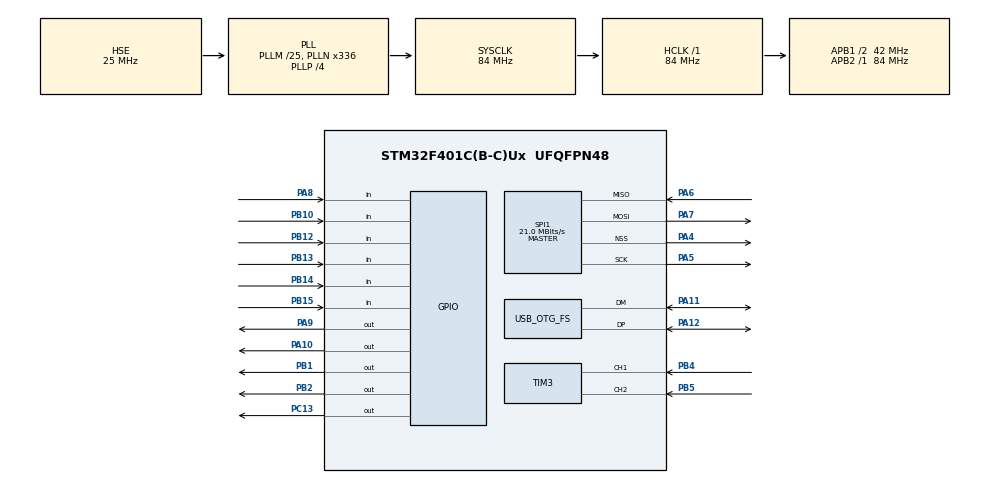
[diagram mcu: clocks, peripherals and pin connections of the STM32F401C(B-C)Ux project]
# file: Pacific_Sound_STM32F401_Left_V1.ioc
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Mcu.Family=STM32F4
Mcu.Name=STM32F401C(B-C)Ux
Mcu.Package=UFQFPN48
NVIC.OTG_FS_IRQn=true\:0\:0\:false\:false\:true\:false\:true
NVIC.PriorityGroup=NVIC_PRIORITYGROUP_4
NVIC.TIM3_IRQn=true\:0\:0\:false\:false\:true\:true\:true
PA10.Signal=GPIO_Output
PA11.Mode=Device_Only
PA11.Signal=USB_OTG_FS_DM
PA12.Mode=Device_Only
PA12.Signal=USB_OTG_FS_DP
PA4.Mode=NSS_Signal_Hard_Output
PA4.Signal=SPI1_NSS
PA5.Mode=Full_Duplex_Master
PA5.Signal=SPI1_SCK
PA6.Mode=Full_Duplex_Master
PA6.Signal=SPI1_MISO
PA7.Mode=Full_Duplex_Master
PA7.Signal=SPI1_MOSI
PA8.GPIO_PuPd=GPIO_PULLUP
PA8.Signal=GPIO_Input
PA9.Signal=GPIO_Output
PB1.Signal=GPIO_Output
PB10.GPIO_PuPd=GPIO_PULLUP
PB10.Signal=GPIO_Input
PB12.GPIO_PuPd=GPIO_PULLUP
PB12.Signal=GPIO_Input
PB13.GPIO_PuPd=GPIO_PULLUP
PB13.Signal=GPIO_Input
PB14.GPIO_PuPd=GPIO_PULLUP
PB14.Signal=GPIO_Input
PB15.GPIO_PuPd=GPIO_PULLUP
PB15.Signal=GPIO_Input
PB2.Signal=GPIO_Output
PB4.GPIO_PuPd=GPIO_PULLUP
PB4.Signal=S_TIM3_CH1
PB5.GPIO_PuPd=GPIO_PULLUP
PB5.Signal=S_TIM3_CH2
PC13-ANTI_TAMP.Signal=GPIO_Output
PC14-OSC32_IN.Mode=LSE-External-Oscillator
PC14-OSC32_IN.Signal=RCC_OSC32_IN
PC15-OSC32_OUT.Mode=LSE-External-Oscillator
PC15-OSC32_OUT.Signal=RCC_OSC32_OUT
PH0\ -\ OSC_IN.Mode=HSE-External-Oscillator
PH0\ -\ OSC_IN.Signal=RCC_OSC_IN
PH1\ -\ OSC_OUT.Mode=HSE-External-Oscillator
PH1\ -\ OSC_OUT.Signal=RCC_OSC_OUT
ProjectManager.HeapSize=0x200
ProjectManager.StackSize=0x400
ProjectManager.TargetToolchain=STM32CubeIDE
RCC.48MHZClocksFreq_Value=48000000
RCC.AHBFreq_Value=84000000
RCC.APB1CLKDivider=RCC_HCLK_DIV2
RCC.APB1Freq_Value=42000000
RCC.APB1TimFreq_Value=84000000
RCC.APB2Freq_Value=84000000
RCC.APB2TimFreq_Value=84000000
RCC.CortexFreq_Value=84000000
RCC.HCLKFreq_Value=84000000
RCC.HSE_VALUE=25000000
RCC.HSI_VALUE=16000000
RCC.PLLM=25
RCC.PLLN=336
RCC.PLLP=RCC_PLLP_DIV4
RCC.PLLQ=7
RCC.SYSCLKFreq_VALUE=84000000
RCC.SYSCLKSource=RCC_SYSCLKSOURCE_PLLCLK
RCC.VCOOutputFreq_Value=336000000
SH.S_TIM3_CH1.0=TIM3_CH1,Encoder_Interface
SH.S_TIM3_CH2.0=TIM3_CH2,Encoder_Interface
SPI1.BaudRatePrescaler=SPI_BAUDRATEPRESCALER_4
SPI1.CalculateBaudRate=21.0 MBits/s
SPI1.Direction=SPI_DIRECTION_2LINES
SPI1.Mode=SPI_MODE_MASTER
SPI1.VirtualNSS=VM_NSSHARD
SPI1.VirtualType=VM_MASTER
TIM3.EncoderMode=TIM_ENCODERMODE_TI12
TIM3.IC1Filter=15
TIM3.IC1Prescaler=TIM_ICPSC_DIV1
TIM3.IC2Filter=15
TIM3.IC2Prescaler=TIM_ICPSC_DIV1
USB_DEVICE.CLASS_NAME_FS=HID
USB_DEVICE.PID_HID_FS=22316
USB_DEVICE.VirtualMode=Hid
USB_DEVICE.VirtualModeFS=Hid_FS
USB_OTG_FS.VirtualMode=Device_Only
VP_USB_DEVICE_VS_USB_DEVICE_HID_FS.Mode=HID_FS
board=custom

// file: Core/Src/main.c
/* USER CODE BEGIN Header */
/**
  ******************************************************************************
  * @file           : main.c
  * @brief          : Main program body
  ******************************************************************************
  * @attention
  *
  * <h2><center>&copy; Copyright (c) 2022 STMicroelectronics.
  * All rights reserved.</center></h2>
  *
  * This software component is licensed by ST under BSD 3-Clause license,
  * the "License"; You may not use this file except in compliance with the
  * License. You may obtain a copy of the License at:
  *                        opensource.org/licenses/BSD-3-Clause
  *
  ******************************************************************************
  */
/* USER CODE END Header */
#include "main.h"
#include "usb_device.h"

/* USER CODE BEGIN Includes */
#include "usbd_hid.h"

/* USER CODE END Includes */

SPI_HandleTypeDef hspi1;
TIM_HandleTypeDef htim3;

/* USER CODE BEGIN PV */

extern USBD_HandleTypeDef hUsbDeviceFS;

//Storage for the encoder values. Counter 1 is the previous value
//Counter 2 is the present value. The enc1 count is incremented by the
// difference between counter 2 and counter 1 (can be negative).
uint32_t enc1_counter1 = 0x0;
uint32_t enc1_counter2 = 0x0;
int32_t enc1_count = 0x0;
//The encoder count will define how many key presses to send to the computer
//The MCU loop happens faster than the computer polling so there must be a delay.
//The key press is sent until the count increments up to the delay. Then the
//key release is also sent for enough times for the count to increment to 2x the
//delay
const uint16_t enc1_delay = 200;
const uint8_t enc_scaling = 2;
uint16_t enc_hold_count=0x0;

const uint16_t debounce = 10;

// This index is to be passed during the column and row scanning to keep track
// of which key is being checked
uint8_t vect_ind = 0x0;

// Initialize a vector for the keyboard
// This is the storage for how many cycles a key is logged as connected.
// This will be checked against the debounce count in order to determine that
// a key should be considered to be pressed.
uint16_t kb_count_vect[22]={0x0};

//This is the variable to keep track of the layer state
uint8_t layer_state = 0;

// These are the keycode and modifier vectors. There is a keycode and modifier for each
// key on each half. There are two more codes and modifiers at the end in order to
// account a single encoder. One code for clockwise and one for counter-clockwise
// encoder rotation (increasing or decreasing).

//Layer 0:
const uint8_t kc_left_l0[24]={0x05 ,0x13 ,0x09 ,0x1a ,0x14 ,0x2b ,0x0a ,0x17 ,0x16 ,0x15 ,0x04 ,0x00 ,0x19 ,0x07 ,0x06 ,0x1b ,0x1d ,0x00 ,0x00 ,0x2a ,0x00 ,0x29, 0x51, 0x52};
const uint8_t kc_right_l0[24]={0x0d ,0x0f ,0x18 ,0x1c ,0x33 ,0x28 ,0x10 ,0x11 ,0x08 ,0x0c ,0x12 ,0x34 ,0x0e ,0x0b ,0x36 ,0x37 ,0x38 ,0x00 ,0x00 ,0x2c ,0x00 ,0x00 ,0x50, 0x4f};
const uint8_t mod_left_l0[24]={0x00 ,0x00 ,0x00 ,0x00 ,0x00 ,0x00 ,0x00 ,0x00 ,0x00 ,0x00 ,0x00 ,0x01 ,0x00 ,0x00 ,0x00 ,0x00 ,0x00 ,0x02 ,0x00 ,0x00 ,0x00 ,0x00, 0x00 ,0x00};
const uint8_t mod_right_l0[24]={0x00 ,0x00 ,0x00 ,0x00 ,0x00 ,0x00 ,0x00 ,0x00 ,0x00 ,0x00 ,0x00 ,0x00 ,0x00 ,0x00 ,0x00 ,0x00 ,0x00 ,0x20 ,0x00 ,0x00 ,0x00 ,0x40, 0x00 ,0x00};
//Layer 1:
const uint8_t kc_left_l1[24]={0x00 ,0x4b ,0x52 ,0x4a ,0x00 ,0x2b ,0x46 ,0x4f ,0x51 ,0x50 ,0x00 ,0x00 ,0x4c ,0x4e ,0x51 ,0x4d ,0x00 ,0x00 ,0x00 ,0x2a ,0x00 ,0x29, 0x51, 0x52};
const uint8_t kc_right_l1[24]={0x54 ,0x5f ,0x60 ,0x61 ,0x55 ,0x28 ,0x2e ,0x5c ,0x5d ,0x5e ,0x56 ,0x34 ,0x00 ,0x59 ,0x5a ,0x5b ,0x57 ,0x00 ,0x00 ,0x2c ,0x62 ,0x63 ,0x50, 0x4f};
const uint8_t mod_left_l1[24]={0x00 ,0x00 ,0x00 ,0x00 ,0x00 ,0x00 ,0x00 ,0x00 ,0x00 ,0x00 ,0x00 ,0x01 ,0x00 ,0x00 ,0x00 ,0x00 ,0x00 ,0x02 ,0x00 ,0x00 ,0x00 ,0x00, 0x00 ,0x00};
const uint8_t mod_right_l1[24]={0x00 ,0x00 ,0x00 ,0x00 ,0x00 ,0x00 ,0x00 ,0x00 ,0x00 ,0x00 ,0x00 ,0x00 ,0x00 ,0x00 ,0x00 ,0x00 ,0x00 ,0x20 ,0x00 ,0x00 ,0x00 ,0x00, 0x00 ,0x00};
//Layer 2:
const uint8_t kc_left_l2[24]={0x22 ,0x21 ,0x20 ,0x1f ,0x1e ,0x35 ,0x22 ,0x21 ,0x20 ,0x1f ,0x1e ,0x35 ,0x00 ,0x00 ,0x00 ,0x10 ,0x00 ,0x00 ,0x00 ,0x2a ,0x00 ,0x29, 0x51, 0x52};
const uint8_t kc_right_l2[24]={0x23 ,0x24 ,0x25 ,0x26 ,0x27 ,0x2d ,0x23 ,0x24 ,0x25 ,0x26 ,0x27 ,0x2d ,0x2f ,0x30 ,0x2f ,0x30 ,0x31 ,0x31 ,0x00 ,0x2c ,0x00 ,0x00 ,0x50, 0x4f};
const uint8_t mod_left_l2[24]={0x02 ,0x02 ,0x02 ,0x02 ,0x02 ,0x02 ,0x00 ,0x00 ,0x00 ,0x00 ,0x00 ,0x00 ,0x00 ,0x00 ,0x00 ,0x08 ,0x08 ,0x00 ,0x00 ,0x00 ,0x00 ,0x00, 0x00 ,0x00};
const uint8_t mod_right_l2[24]={0x02 ,0x02 ,0x02 ,0x02 ,0x02 ,0x02 ,0x00 ,0x00 ,0x00 ,0x00 ,0x00 ,0x00 ,0x02 ,0x02 ,0x00 ,0x00 ,0x00 ,0x02 ,0x00 ,0x00 ,0x00 ,0x40, 0x00 ,0x00};

/* USER CODE END PV */

void SystemClock_Config(void);
static void MX_GPIO_Init(void);
static void MX_SPI1_Init(void);
static void MX_TIM3_Init(void);

/* USER CODE BEGIN 0 */

void HAL_TIM_IC_CaptureCallback(TIM_HandleTypeDef *htim){

	//Update the counter2 value.
	//this value will be compared against counter1 and if it is
	//different then the delta will be used to send keycodes for the
	//encoder and then counter1 will be sent to counter2 after the
	//the codes are sent

	// This callback function is triggered whenever there
	// is a change in the encoder value. There is no need to
	// poll the encoder.
	enc1_counter2 = __HAL_TIM_GET_COUNTER(htim);

}

void check_layer_state(uint8_t *kbSPI_tx, uint8_t *kbSPI_rx, uint8_t n_kbSPI){

    uint8_t ii;

    // Check for certain keys that are pressed. There are only keycode vectors
    // for layers 0, 1, and 2 so layers 3 and 4 are not used right now.

	// Layer 0: default
	// Layer 1: kbSPI_tx has key 21
	// Layer 2: kbSPI_rx has key 21
	// Layer 3: kbSPI_tx has key 22
    // Layer 4: kbSPI_rx has key 22

    if(layer_state==0){
        // If layer state is 0 check if a layer key is pressed
        for(ii=0; ii<n_kbSPI; ++ii){
    		//if(kbSPI_rx[ii]==22){
    		//	layer_state=4;
    		//}
    		//else if(kbSPI_tx[ii]==22){
    		//	layer_state=3;
    		//}
    		if(kbSPI_rx[ii]==21){
    			layer_state=2;
    		}
    		else if(kbSPI_tx[ii]==21){
    			layer_state=1;
    		}
    	}
    }
    else{
        // If a layer key was previously pressed (layer_state!=0) then only set the layer state
        // back to zero if that key is released
    	// This allows a second layer key to be pressed without overiding the first layer state
    	// For example, my numpad setup uses the key 21 as a "0" for the right half.
    	// when I press that key I want to be sure it doesn't cause layer state 2 to become
    	// active instead of staying in layer state 1 and being interpreted as a key press.
        if(layer_state==4){
            layer_state=0;
            for(ii=0; ii<n_kbSPI; ++ii){
        		if(kbSPI_rx[ii]==22){
        			layer_state=4;
        		}
            }
        }
        else if(layer_state==3){
            layer_state=0;
            for(ii=0; ii<n_kbSPI; ++ii){
        		if(kbSPI_tx[ii]==22){
        			layer_state=3;
        		}
            }
        }
        else if(layer_state==2){
            layer_state=0;
            for(ii=0; ii<n_kbSPI; ++ii){
        		if(kbSPI_rx[ii]==21){
        			layer_state=2;
        		}
            }
        }
        else if(layer_state==1){
            layer_state=0;
            for(ii=0; ii<n_kbSPI; ++ii){
        		if(kbSPI_tx[ii]==21){
        			layer_state=1;
        		}
            }
        }
    }

}

void send_keycodes(uint8_t *kbSPI_tx, uint8_t *kbSPI_rx, uint8_t n_kbSPI){

	// In this function the vectors kbSPI_tx and kbSPI_rx are parsed
	// Both of these vectors contain the indices of keys that have been
	// held down for long enough to be considered pressed (exceeded the
	// debounce count)
	//
	// These vectors are a vector of indices. eg. if the number 19 is
	// in the vector it means that the key 19 is pressed. The kbSPI_tx
	// is for this half, the kbSPI_rx is for the other half.

	// USB HID data. Most significant byte is the modifiers (data[0])
	// Modifiers are combined using a bitwise or
	// data[1] is reserved
	// data[2] to data[7] are the keycodes

	uint8_t kbUSB_data[8]={0x00};

	// code keeps track of the number of keycodes that have been added to the
	// keycode data. This must be limited to 6.
	uint8_t code=0;
	uint8_t ii;

	// These are temporary values to hold the keycode and modifier that correspond to
	// a given key that is interpreted.
	uint8_t kc = 0x0;
	uint8_t mod = 0x0;

	code=0;

	// Before keys are interpreted the vectors are checked to see if any layer
	// keys are pressed. If a layer key is pressed the layer state is changed and
	// this then changes the interpretation of the the keycode and modifier that
	// are associated with a key press.

	// Layer keycodes and modifiers are stored in separate vectors for each layer.
	check_layer_state(kbSPI_tx,kbSPI_rx,n_kbSPI);

	// Interpret kbSPI_tx (this half)
	for(ii=0; ii<n_kbSPI; ++ii){

		if(kbSPI_tx[ii]>0){
			// Look up each keycode and modifier from the keymap vectors
			// based on the layer state
			if(layer_state==0){
				kc = kc_left_l0[kbSPI_tx[ii]-1];
				mod = mod_left_l0[kbSPI_tx[ii]-1];
			}
			else if(layer_state==1){
				kc = kc_left_l1[kbSPI_tx[ii]-1];
				mod = mod_left_l1[kbSPI_tx[ii]-1];

			}
			else if(layer_state==2){
				kc = kc_left_l2[kbSPI_tx[ii]-1];
				mod = mod_left_l2[kbSPI_tx[ii]-1];
			}
			// Additional layers can be added as needed with more vectors
			//
			//else if(layer_state==3){
			//	kc = kc_left_l3[kbSPI_tx[ii]-1];
			//	mod = mod_left_l3[kbSPI_tx[ii]-1];
			//}
			//else{
			//	kc = kc_left_l4[kbSPI_tx[ii]-1];
			//	mod = mod_left_l4[kbSPI_tx[ii]-1];
			//}

			// If the keycode is not empty and the number of keycodes
			// already added is less than 6 add the keycode to the data

			if(kc>0){
				if(code<6){
					kbUSB_data[code+2]=kc;
					++code;
				}
			}

			kbUSB_data[0] = kbUSB_data[0]|mod;

		}

	}

	// Now add in kbSPI_rx (the other board)
	for(ii=0; ii<n_kbSPI; ++ii){

		if(kbSPI_rx[ii]>0){
			// Look up each keycode and modifier from the keymap vectors
			// based on the layer state
			if(layer_state==0){
				kc = kc_right_l0[kbSPI_rx[ii]-1];
				mod = mod_right_l0[kbSPI_rx[ii]-1];
			}
			else if(layer_state==1){
				kc = kc_right_l1[kbSPI_rx[ii]-1];
				mod = mod_right_l1[kbSPI_rx[ii]-1];

			}
			else if(layer_state==2){
				kc = kc_right_l2[kbSPI_rx[ii]-1];
				mod = mod_right_l2[kbSPI_rx[ii]-1];
			}
			//else if(layer_state==3){
			//	kc = kc_right_l3[kbSPI_rx[ii]-1];
			//	mod = mod_right_l3[kbSPI_rx[ii]-1];
			//}
			//else{
			//	kc = kc_right_l4[kbSPI_rx[ii]-1];
			//	mod = mod_right_l4[kbSPI_rx[ii]-1];
			//}

			// If the keycode is not empty and the number of keycodes
			// already added is less than 6 add the keycode to the data
			if(kc>0){
				if(code<6){
					kbUSB_data[code+2]=kc;
					++code;
				}
			}

			kbUSB_data[0] = kbUSB_data[0]|mod;

		}
	}

	// Update the data sent over USB using USBD_HID_SendReport
	// Note that this function only updates the data that can
	// be sent. The computer polls over USB triggering the data
	// transmission. USBD_HID_SendReport only updates the
	// available data. It can be called repeatedly and will not
	// cause any buffer over-run. It is non-blocking so it will
	// not wait to be polled by the computer.
	USBD_HID_SendReport(&hUsbDeviceFS,kbUSB_data,8);

}

void scan_cols(uint8_t row)
{

	// Row specified by rowInd is toggled. Scan through columns to check it any column is pulled low
	// diodes go from column to row. Rows are set low to toggle. Columns have a pull-up on to set them
	// high when there is no connection.

	//Check column 1
	if(HAL_GPIO_ReadPin(GPIOA,GPIO_PIN_8)!=GPIO_PIN_SET){
		kb_count_vect[vect_ind]+=1;
	}
	else{
		kb_count_vect[vect_ind]=0;
	}
	vect_ind+=1;

	//Check column 2
	if(HAL_GPIO_ReadPin(GPIOB,GPIO_PIN_10)!=GPIO_PIN_SET){
		kb_count_vect[vect_ind]+=1;
	}
	else{
		kb_count_vect[vect_ind]=0;
	}
	vect_ind+=1;

	//Check column 3
	if(HAL_GPIO_ReadPin(GPIOB,GPIO_PIN_15)!=GPIO_PIN_SET){
		kb_count_vect[vect_ind]+=1;
	}
	else{
		kb_count_vect[vect_ind]=0;
	}
	vect_ind+=1;

	//Check column 4
	if(HAL_GPIO_ReadPin(GPIOB,GPIO_PIN_14)!=GPIO_PIN_SET){
		kb_count_vect[vect_ind]+=1;
	}
	else{
		kb_count_vect[vect_ind]=0;
	}
	vect_ind+=1;

	// Row 3 only has 4 key spots so no need to check pin B12 or in B13 (Col 5 or Col 6)
	if(row<3){
		//Check column 5
		if(HAL_GPIO_ReadPin(GPIOB,GPIO_PIN_13)!=GPIO_PIN_SET){
			kb_count_vect[vect_ind]+=1;
		}
		else{
			kb_count_vect[vect_ind]=0;
		}
		vect_ind+=1;

		//Check column 6
		if(HAL_GPIO_ReadPin(GPIOB,GPIO_PIN_12)!=GPIO_PIN_SET){
			kb_count_vect[vect_ind]+=1;
		}
		else{
			kb_count_vect[vect_ind]=0;
		}
		vect_ind+=1;
	}

}

void scan_matrix(void)
{
	vect_ind = 0x0;
	// Key switch detection...
	// Trigger row 1 and scan columns
	HAL_GPIO_WritePin(GPIOB,GPIO_PIN_2,0);
	scan_cols(0);
	HAL_GPIO_WritePin(GPIOB,GPIO_PIN_2,1);

	// Trigger row 2 and scan columns
	HAL_GPIO_WritePin(GPIOA,GPIO_PIN_9,0);
	scan_cols(1);
	HAL_GPIO_WritePin(GPIOA,GPIO_PIN_9,1);

	// Trigger row 3 and scan columns
	HAL_GPIO_WritePin(GPIOB,GPIO_PIN_1,0);
	scan_cols(2);
	HAL_GPIO_WritePin(GPIOB,GPIO_PIN_1,1);

	// Trigger row 4 and scan columns
	HAL_GPIO_WritePin(GPIOA,GPIO_PIN_10,0);
	scan_cols(3);
	HAL_GPIO_WritePin(GPIOA,GPIO_PIN_10,1);

}

void update_keys(uint8_t *kbSPI_tx, uint8_t n_kbSPI){

	// The indices of the vector are sent instead of the keycodes.
	// This will allow the half that is connected to the computer
	// to interpret the keys (use layers etc.)
	//
	// In this function any key that has a count greater than
	// the debounce count will be considered to be a valid key press.
	// It will be added to the vector of indices that is keeping track
	// of which keys are pressed. This vector is limited in size to
	// 8 keys at once (8 keys per half maximum).
	// Even though this is larger than the number of key codes that can
	// be sent it seemed okay to have a little more space for keys
	// and then down select when the vectors are interpreted into
	// keycodes.
	// There is no rollover of keys (keys are not stored for future transmission
	// if there are too many keys pressed).

	uint8_t kb_ind;
	uint8_t ii;

	int32_t enc_delta;

	for( kb_ind=0; kb_ind<n_kbSPI; ++kb_ind){
		kbSPI_tx[kb_ind] = 0x0;
	}

	kb_ind=0;

	for( ii = 0; ii < 22; ++ii ){
		if(kb_count_vect[ii]>debounce){
			kb_count_vect[ii]=debounce+1; //prevent overrun of uint16 values

			// if there is space in the vector append the key
			if(kb_ind<n_kbSPI){
				kbSPI_tx[kb_ind]=ii+1; //increment by one since zeros mean no keys are pressed
				++kb_ind;
			}
		}
	}

	// Interpret the encoder signal if the value has changed.
	// The previous encoder value is stored in counter1 and the updated
	// values is in counter2. The difference is how many positions the
	// encoder has moved. The encoder wraps around at 65535 (only has values
	// from 0 to 65535) so if a value that is greater or less than a reasonable
	// delta is detected it means the encoder has gone lower than zero or
	// higher than 65535. So that number should be added or subtracted from
	// the delta.

	// In order to dampen the response the delta is divided by a scaling value.
	// This dampened delta is added to an encoder count that can be negative
	// or positive. This count is then used to sequentially add key indices
	// (either 23 or 24) to the vector of indices until the count returns back to zero.
	if(enc1_counter2!=enc1_counter1){
		enc_delta=(enc1_counter2-enc1_counter1);
		if(enc_delta>65000){
			enc_delta = enc_delta-65535;
		}
		else if(enc_delta<-65000){
			enc_delta = enc_delta+65536;
		}
		enc1_counter1=enc1_counter2;
		enc1_count = enc1_count+enc_delta/enc_scaling;
	}

	// If there is space in the vector of keycodes and the encoder count
	// is not zero then add the indice 23 or 24 to the set of key indices
	// This indice is held on for the number of cycles in enc1_delay and
	// then held off for the same number of cycles. If the code is turned
	// on and off too fast the computer will not interpret it so this
	// delay is necessary. Too long of a value for enc1_delay and the
	// encoder values will back up and the response will seem sluggish.
	// Too small of a value and the encoder key presses will not be
	// registered by the computer.
	if(kb_ind<n_kbSPI){
		if(enc1_count!=0){
			if(enc_hold_count<enc1_delay){
				++enc_hold_count;
				if(enc1_count<0){
					kbSPI_tx[kb_ind]=23;
					++kb_ind;
				}
				else{
					kbSPI_tx[kb_ind]=24;
					++kb_ind;
				}
			}
			else if(enc_hold_count<(enc1_delay+enc1_delay)){
				++enc_hold_count;

			}
			else{
				if(enc1_count<0){
					++enc1_count;
				}
				else{
					--enc1_count;
				}
				enc_hold_count=0x0;
			}

		}

	}

}

/* USER CODE END 0 */

int main(void)
{
  /* USER CODE BEGIN 1 */

  // Storage for the number of key indices for each half (tx and rx) and
  // the indices themselves.
  uint8_t n_kbSPI = 8;
  uint8_t kbSPI_tx[8]={0x0};
  uint8_t kbSPI_rx[8]={0x0};

  /* USER CODE END 1 */

  /* MCU Configuration--------------------------------------------------------*/

  /* Reset of all peripherals, Initializes the Flash interface and the Systick. */
  HAL_Init();

  /* Configure the system clock */
  SystemClock_Config();

  /* Initialize all configured peripherals */
  MX_GPIO_Init();
  MX_SPI1_Init();
  MX_TIM3_Init();
  MX_USB_DEVICE_Init();
  /* USER CODE BEGIN 2 */

  // Start the encoder timer interrupt
  HAL_TIM_Encoder_Start_IT(&htim3, TIM_CHANNEL_ALL);

  // Initialize all GPIO Output pins (rows) to 1
  // keys are interpreted as being pressed when
  // a row is set to low and the corresponding column
  // is detected as low. All columns have pullup
  // resistors enabled in the MCU so that they normally
  // detect high and are only pulled low by a key press
  // when the corresponding row is low.
  HAL_GPIO_WritePin(GPIOA,GPIO_PIN_9,1);
  HAL_GPIO_WritePin(GPIOA,GPIO_PIN_10,1);
  HAL_GPIO_WritePin(GPIOB,GPIO_PIN_1,1);
  HAL_GPIO_WritePin(GPIOB,GPIO_PIN_2,1);

  // USB polling interval is not necessary
  //USB_polling = USBD_HID_GetPollingInterval(&hUsbDeviceFS);

  /* USER CODE END 2 */

  /* Infinite loop */
  while (1)
  {

    /* USER CODE BEGIN 3 */

	// Scan the matrix and increment the vector of keys for any
	// key that has been pressed. If a column is not pulled low
	// reset the count to zero for the corresponding key.
	scan_matrix();

	//HAL_GPIO_WritePin(GPIOC,GPIO_PIN_13,0);  // this just turns on the blue LED.

	// Update the vector of keys that are considered to be pressed
	// each number in the vector corresponds to the switch that is pressed
	update_keys(kbSPI_tx,n_kbSPI);

	// Receive the data of the keys that are pressed on the other half.
	// This is a blocking function so it will wait for data to arrive.
	// This will also serve to regulate the other half making it have
	// the same number cycles (makes it easier for the crude debounce count
	// and encoder count values since the same numbers can be used on the other
	// half. If the other half was looping faster (because it doesn't need to
	// interpret layer states or keycodes) then those values would need to
	// be higher for the same effective amounts of time.
	HAL_SPI_Receive(&hspi1,kbSPI_rx,n_kbSPI,10000);

	// Turn off the blue LED light on the development board
	HAL_GPIO_WritePin(GPIOC,GPIO_PIN_13,1);

	// Update the keycode data that is ready to be sent to the computer
	// when it polls for it.
	send_keycodes(kbSPI_tx,kbSPI_rx,n_kbSPI);

  }
  /* USER CODE END 3 */
}

void SystemClock_Config(void)
{
  RCC_OscInitTypeDef RCC_OscInitStruct = {0};
  RCC_ClkInitTypeDef RCC_ClkInitStruct = {0};

  /** Configure the main internal regulator output voltage
  */
  __HAL_RCC_PWR_CLK_ENABLE();
  __HAL_PWR_VOLTAGESCALING_CONFIG(PWR_REGULATOR_VOLTAGE_SCALE2);
  /** Initializes the RCC Oscillators according to the specified parameters
  * in the RCC_OscInitTypeDef structure.
  */
  RCC_OscInitStruct.OscillatorType = RCC_OSCILLATORTYPE_HSE;
  RCC_OscInitStruct.HSEState = RCC_HSE_ON;
  RCC_OscInitStruct.PLL.PLLState = RCC_PLL_ON;
  RCC_OscInitStruct.PLL.PLLSource = RCC_PLLSOURCE_HSE;
  RCC_OscInitStruct.PLL.PLLM = 25;
  RCC_OscInitStruct.PLL.PLLN = 336;
  RCC_OscInitStruct.PLL.PLLP = RCC_PLLP_DIV4;
  RCC_OscInitStruct.PLL.PLLQ = 7;
  if (HAL_RCC_OscConfig(&RCC_OscInitStruct) != HAL_OK)
  {
    Error_Handler();
  }
  /** Initializes the CPU, AHB and APB buses clocks
  */
  RCC_ClkInitStruct.ClockType = RCC_CLOCKTYPE_HCLK|RCC_CLOCKTYPE_SYSCLK
                              |RCC_CLOCKTYPE_PCLK1|RCC_CLOCKTYPE_PCLK2;
  RCC_ClkInitStruct.SYSCLKSource = RCC_SYSCLKSOURCE_PLLCLK;
  RCC_ClkInitStruct.AHBCLKDivider = RCC_SYSCLK_DIV1;
  RCC_ClkInitStruct.APB1CLKDivider = RCC_HCLK_DIV2;
  RCC_ClkInitStruct.APB2CLKDivider = RCC_HCLK_DIV1;

  if (HAL_RCC_ClockConfig(&RCC_ClkInitStruct, FLASH_LATENCY_2) != HAL_OK)
  {
    Error_Handler();
  }
}

static void MX_SPI1_Init(void)
{

  /* SPI1 parameter configuration*/
  hspi1.Instance = SPI1;
  hspi1.Init.Mode = SPI_MODE_MASTER;
  hspi1.Init.Direction = SPI_DIRECTION_2LINES;
  hspi1.Init.DataSize = SPI_DATASIZE_8BIT;
  hspi1.Init.CLKPolarity = SPI_POLARITY_LOW;
  hspi1.Init.CLKPhase = SPI_PHASE_1EDGE;
  hspi1.Init.NSS = SPI_NSS_HARD_OUTPUT;
  hspi1.Init.BaudRatePrescaler = SPI_BAUDRATEPRESCALER_4;
  hspi1.Init.FirstBit = SPI_FIRSTBIT_MSB;
  hspi1.Init.TIMode = SPI_TIMODE_DISABLE;
  hspi1.Init.CRCCalculation = SPI_CRCCALCULATION_DISABLE;
  hspi1.Init.CRCPolynomial = 10;
  if (HAL_SPI_Init(&hspi1) != HAL_OK)
  {
    Error_Handler();
  }

}

static void MX_TIM3_Init(void)
{

  TIM_Encoder_InitTypeDef sConfig = {0};
  TIM_MasterConfigTypeDef sMasterConfig = {0};

  htim3.Instance = TIM3;
  htim3.Init.Prescaler = 0;
  htim3.Init.CounterMode = TIM_COUNTERMODE_UP;
  htim3.Init.Period = 65535;
  htim3.Init.ClockDivision = TIM_CLOCKDIVISION_DIV1;
  htim3.Init.AutoReloadPreload = TIM_AUTORELOAD_PRELOAD_DISABLE;
  sConfig.EncoderMode = TIM_ENCODERMODE_TI12;
  sConfig.IC1Polarity = TIM_ICPOLARITY_RISING;
  sConfig.IC1Selection = TIM_ICSELECTION_DIRECTTI;
  sConfig.IC1Prescaler = TIM_ICPSC_DIV1;
  sConfig.IC1Filter = 15;
  sConfig.IC2Polarity = TIM_ICPOLARITY_RISING;
  sConfig.IC2Selection = TIM_ICSELECTION_DIRECTTI;
  sConfig.IC2Prescaler = TIM_ICPSC_DIV1;
  sConfig.IC2Filter = 15;
  if (HAL_TIM_Encoder_Init(&htim3, &sConfig) != HAL_OK)
  {
    Error_Handler();
  }
  sMasterConfig.MasterOutputTrigger = TIM_TRGO_RESET;
  sMasterConfig.MasterSlaveMode = TIM_MASTERSLAVEMODE_DISABLE;
  if (HAL_TIMEx_MasterConfigSynchronization(&htim3, &sMasterConfig) != HAL_OK)
  {
    Error_Handler();
  }

}

static void MX_GPIO_Init(void)
{
  GPIO_InitTypeDef GPIO_InitStruct = {0};

  /* GPIO Ports Clock Enable */
  __HAL_RCC_GPIOC_CLK_ENABLE();
  __HAL_RCC_GPIOH_CLK_ENABLE();
  __HAL_RCC_GPIOA_CLK_ENABLE();
  __HAL_RCC_GPIOB_CLK_ENABLE();

  /*Configure GPIO pin Output Level */
  HAL_GPIO_WritePin(GPIOC, GPIO_PIN_13, GPIO_PIN_RESET);

  /*Configure GPIO pin Output Level */
  HAL_GPIO_WritePin(GPIOB, GPIO_PIN_1|GPIO_PIN_2, GPIO_PIN_RESET);

  /*Configure GPIO pin Output Level */
  HAL_GPIO_WritePin(GPIOA, GPIO_PIN_9|GPIO_PIN_10, GPIO_PIN_RESET);

  /*Configure GPIO pin : PC13 */
  GPIO_InitStruct.Pin = GPIO_PIN_13;
  GPIO_InitStruct.Mode = GPIO_MODE_OUTPUT_PP;
  GPIO_InitStruct.Pull = GPIO_NOPULL;
  GPIO_InitStruct.Speed = GPIO_SPEED_FREQ_LOW;
  HAL_GPIO_Init(GPIOC, &GPIO_InitStruct);

  /*Configure GPIO pins : PB1 PB2 */
  GPIO_InitStruct.Pin = GPIO_PIN_1|GPIO_PIN_2;
  GPIO_InitStruct.Mode = GPIO_MODE_OUTPUT_PP;
  GPIO_InitStruct.Pull = GPIO_NOPULL;
  GPIO_InitStruct.Speed = GPIO_SPEED_FREQ_LOW;
  HAL_GPIO_Init(GPIOB, &GPIO_InitStruct);

  /*Configure GPIO pins : PB10 PB12 PB13 PB14
                           PB15 */
  GPIO_InitStruct.Pin = GPIO_PIN_10|GPIO_PIN_12|GPIO_PIN_13|GPIO_PIN_14
                          |GPIO_PIN_15;
  GPIO_InitStruct.Mode = GPIO_MODE_INPUT;
  GPIO_InitStruct.Pull = GPIO_PULLUP;
  HAL_GPIO_Init(GPIOB, &GPIO_InitStruct);

  /*Configure GPIO pin : PA8 */
  GPIO_InitStruct.Pin = GPIO_PIN_8;
  GPIO_InitStruct.Mode = GPIO_MODE_INPUT;
  GPIO_InitStruct.Pull = GPIO_PULLUP;
  HAL_GPIO_Init(GPIOA, &GPIO_InitStruct);

  /*Configure GPIO pins : PA9 PA10 */
  GPIO_InitStruct.Pin = GPIO_PIN_9|GPIO_PIN_10;
  GPIO_InitStruct.Mode = GPIO_MODE_OUTPUT_PP;
  GPIO_InitStruct.Pull = GPIO_NOPULL;
  GPIO_InitStruct.Speed = GPIO_SPEED_FREQ_LOW;
  HAL_GPIO_Init(GPIOA, &GPIO_InitStruct);

}

void Error_Handler(void)
{
  __disable_irq();
  while (1)
  {
  }
}

/************************ (C) COPYRIGHT STMicroelectronics *****END OF FILE****/
